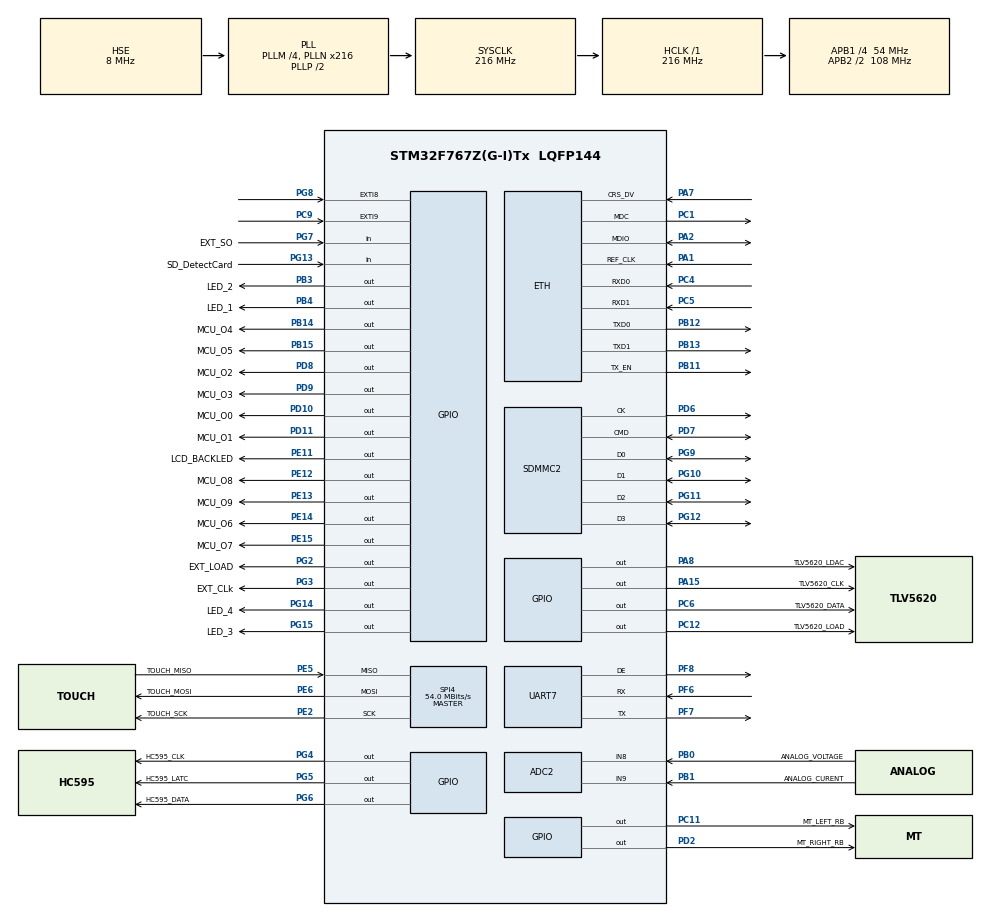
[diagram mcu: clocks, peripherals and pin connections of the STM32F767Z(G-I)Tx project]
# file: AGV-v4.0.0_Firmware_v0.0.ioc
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ADC1.Channel-0\#ChannelRegularConversion=ADC_CHANNEL_VREFINT
ADC1.NbrOfConversionFlag=1
ADC1.Rank-0\#ChannelRegularConversion=1
ADC1.SamplingTime-0\#ChannelRegularConversion=ADC_SAMPLETIME_3CYCLES
ADC1.master=1
ADC2.Channel-12\#ChannelRegularConversion=ADC_CHANNEL_8
ADC2.NbrOfConversionFlag=1
ADC2.Rank-12\#ChannelRegularConversion=1
ADC2.SamplingTime-12\#ChannelRegularConversion=ADC_SAMPLETIME_3CYCLES
CORTEX_M7.ART_ACCLERATOR_ENABLE=1
CORTEX_M7.CPU_DCache=Enabled
CORTEX_M7.CPU_ICache=Enabled
CORTEX_M7.PREFETCH_ENABLE=1
ETH.MediaInterface=ETH_MEDIA_INTERFACE_RMII
FATFS._USE_STRFUNC=1
FREERTOS.Tasks01=defaultTask,0,128,StartDefaultTask,Default,NULL,Dynamic,NULL,NULL;taskInput,0,128,StarttaskInput,Default,NULL,Dynamic,NULL,NULL;TaskSD,-3,1024,StartTaskSD,Default,NULL,Dynamic,NULL,NULL
LWIP.GATEWAY_ADDRESS=192.168.001.000
LWIP.IP_ADDRESS=192.168.001.123
LWIP.LWIP_DHCP=0
LWIP.NETMASK_ADDRESS=255.255.255.000
LWIP.Version=v2.0.0_Cube
Mcu.Family=STM32F7
Mcu.Name=STM32F767Z(G-I)Tx
Mcu.Package=LQFP144
NVIC.ETH_IRQn=true\:5\:0\:false\:false\:true\:true\:false
NVIC.EXTI9_5_IRQn=true\:5\:0\:false\:false\:true\:true\:true
NVIC.PriorityGroup=NVIC_PRIORITYGROUP_4
NVIC.SDMMC2_IRQn=true\:5\:0\:false\:false\:true\:true\:true
NVIC.SPI4_IRQn=true\:5\:0\:false\:false\:true\:true\:true
NVIC.UART7_IRQn=true\:5\:0\:false\:false\:true\:true\:true
PA1.Mode=RMII
PA1.Signal=ETH_REF_CLK
PA13.Mode=Serial_Wire
PA13.Signal=SYS_JTMS-SWDIO
PA14.Mode=Serial_Wire
PA14.Signal=SYS_JTCK-SWCLK
PA15.GPIO_Label=TLV5620_CLK
PA15.GPIO_PuPd=GPIO_PULLUP
PA15.PinState=GPIO_PIN_SET
PA15.Signal=GPIO_Output
PA2.Mode=RMII
PA2.Signal=ETH_MDIO
PA7.Mode=RMII
PA7.Signal=ETH_CRS_DV
PA8.GPIO_Label=TLV5620_LDAC
PA8.GPIO_ModeDefaultOutputPP=GPIO_MODE_OUTPUT_PP
PA8.GPIO_PuPd=GPIO_PULLUP
PA8.PinState=GPIO_PIN_SET
PA8.Signal=GPIO_Output
PB0.GPIO_Label=ANALOG_VOLTAGE
PB0.Signal=ADCx_IN8
PB1.GPIO_Label=ANALOG_CURENT
PB1.Signal=ADCx_IN9
PB11.Mode=RMII
PB11.Signal=ETH_TX_EN
PB12.Mode=RMII
PB12.Signal=ETH_TXD0
PB13.Mode=RMII
PB13.Signal=ETH_TXD1
PB14.GPIO_Label=MCU_O4
PB14.GPIO_PuPd=GPIO_PULLUP
PB14.PinState=GPIO_PIN_RESET
PB14.Signal=GPIO_Output
PB15.GPIO_Label=MCU_O5
PB15.GPIO_PuPd=GPIO_PULLUP
PB15.PinState=GPIO_PIN_RESET
PB15.Signal=GPIO_Output
PB3.GPIO_Label=LED_2
PB3.Signal=GPIO_Output
PB4.GPIO_Label=LED_1
PB4.Signal=GPIO_Output
PC1.Mode=RMII
PC1.Signal=ETH_MDC
PC11.GPIO_Label=MT_LEFT_RB
PC11.Signal=GPIO_Output
PC12.GPIO_Label=TLV5620_LOAD
PC12.GPIO_PuPd=GPIO_PULLUP
PC12.PinState=GPIO_PIN_SET
PC12.Signal=GPIO_Output
PC14/OSC32_IN.Mode=LSE-External-Oscillator
PC14/OSC32_IN.Signal=RCC_OSC32_IN
PC15/OSC32_OUT.Mode=LSE-External-Oscillator
PC15/OSC32_OUT.Signal=RCC_OSC32_OUT
PC4.Mode=RMII
PC4.Signal=ETH_RXD0
PC5.Mode=RMII
PC5.Signal=ETH_RXD1
PC6.GPIO_Label=TLV5620_DATA
PC6.GPIO_PuPd=GPIO_PULLUP
PC6.PinState=GPIO_PIN_SET
PC6.Signal=GPIO_Output
PC9.GPIO_PuPd=GPIO_PULLUP
PC9.Signal=GPXTI9
PD10.GPIO_Label=MCU_O0
PD10.GPIO_PuPd=GPIO_PULLUP
PD10.PinState=GPIO_PIN_RESET
PD10.Signal=GPIO_Output
PD11.GPIO_Label=MCU_O1
PD11.GPIO_PuPd=GPIO_PULLUP
PD11.PinState=GPIO_PIN_RESET
PD11.Signal=GPIO_Output
PD2.GPIO_Label=MT_RIGHT_RB
PD2.Signal=GPIO_Output
PD6.GPIO_PuPd=GPIO_PULLUP
PD6.Mode=SD_4_bits_Wide_bus
PD6.Signal=SDMMC2_CK
PD7.GPIO_PuPd=GPIO_PULLUP
PD7.Mode=SD_4_bits_Wide_bus
PD7.Signal=SDMMC2_CMD
PD8.GPIO_Label=MCU_O2
PD8.GPIO_PuPd=GPIO_PULLUP
PD8.PinState=GPIO_PIN_RESET
PD8.Signal=GPIO_Output
PD9.GPIO_Label=MCU_O3
PD9.GPIO_PuPd=GPIO_PULLUP
PD9.PinState=GPIO_PIN_RESET
PD9.Signal=GPIO_Output
PE11.GPIO_Label=LCD_BACKLED
PE11.Signal=GPIO_Output
PE12.GPIO_Label=MCU_O8
PE12.GPIO_PuPd=GPIO_PULLUP
PE12.PinState=GPIO_PIN_RESET
PE12.Signal=GPIO_Output
PE13.GPIO_Label=MCU_O9
PE13.GPIO_PuPd=GPIO_PULLUP
PE13.PinState=GPIO_PIN_RESET
PE13.Signal=GPIO_Output
PE14.GPIO_Label=MCU_O6
PE14.GPIO_PuPd=GPIO_PULLUP
PE14.PinState=GPIO_PIN_RESET
PE14.Signal=GPIO_Output
PE15.GPIO_Label=MCU_O7
PE15.GPIO_PuPd=GPIO_PULLUP
PE15.PinState=GPIO_PIN_RESET
PE15.Signal=GPIO_Output
PE2.GPIO_Label=TOUCH_SCK
PE2.Mode=Full_Duplex_Master
PE2.Signal=SPI4_SCK
PE5.GPIO_Label=TOUCH_MISO
PE5.Mode=Full_Duplex_Master
PE5.Signal=SPI4_MISO
PE6.GPIO_Label=TOUCH_MOSI
PE6.Mode=Full_Duplex_Master
PE6.Signal=SPI4_MOSI
PF6.Mode=Asynchronous
PF6.Signal=UART7_RX
PF7.Mode=Asynchronous
PF7.Signal=UART7_TX
PF8.Mode=Hardware Flow Control (RS485)
PF8.Signal=UART7_DE
PG10.GPIO_PuPd=GPIO_PULLUP
PG10.Mode=SD_4_bits_Wide_bus
PG10.Signal=SDMMC2_D1
PG11.GPIO_PuPd=GPIO_PULLUP
PG11.Mode=SD_4_bits_Wide_bus
PG11.Signal=SDMMC2_D2
PG12.GPIO_PuPd=GPIO_PULLUP
PG12.Mode=SD_4_bits_Wide_bus
PG12.Signal=SDMMC2_D3
PG13.GPIO_Label=SD_DetectCard
PG13.Signal=GPIO_Input
PG14.GPIO_Label=LED_4
PG14.Signal=GPIO_Output
PG15.GPIO_Label=LED_3
PG15.Signal=GPIO_Output
PG2.GPIO_Label=EXT_LOAD
PG2.GPIO_PuPd=GPIO_PULLUP
PG2.GPIO_Speed=GPIO_SPEED_FREQ_HIGH
PG2.PinState=GPIO_PIN_SET
PG2.Signal=GPIO_Output
PG3.GPIO_Label=EXT_CLk
PG3.GPIO_PuPd=GPIO_PULLUP
PG3.GPIO_Speed=GPIO_SPEED_FREQ_HIGH
PG3.PinState=GPIO_PIN_SET
PG3.Signal=GPIO_Output
PG4.GPIO_Label=HC595_CLK
PG4.GPIO_PuPd=GPIO_PULLUP
PG4.GPIO_Speed=GPIO_SPEED_FREQ_HIGH
PG4.PinState=GPIO_PIN_SET
PG4.Signal=GPIO_Output
PG5.GPIO_Label=HC595_LATC
PG5.GPIO_PuPd=GPIO_PULLUP
PG5.GPIO_Speed=GPIO_SPEED_FREQ_HIGH
PG5.PinState=GPIO_PIN_SET
PG5.Signal=GPIO_Output
PG6.GPIO_Label=HC595_DATA
PG6.GPIO_PuPd=GPIO_PULLUP
PG6.GPIO_Speed=GPIO_SPEED_FREQ_HIGH
PG6.PinState=GPIO_PIN_SET
PG6.Signal=GPIO_Output
PG7.GPIO_Label=EXT_SO
PG7.GPIO_PuPd=GPIO_PULLDOWN
PG7.Signal=GPIO_Input
PG8.GPIO_ModeDefaultEXTI=GPIO_MODE_IT_RISING
PG8.GPIO_PuPd=GPIO_PULLUP
PG8.Signal=GPXTI8
PG9.GPIO_PuPd=GPIO_PULLUP
PG9.Mode=SD_4_bits_Wide_bus
PG9.Signal=SDMMC2_D0
PH0/OSC_IN.Mode=HSE-External-Oscillator
PH0/OSC_IN.Signal=RCC_OSC_IN
PH1/OSC_OUT.Mode=HSE-External-Oscillator
PH1/OSC_OUT.Signal=RCC_OSC_OUT
ProjectManager.HeapSize=0x200
ProjectManager.StackSize=0x400
ProjectManager.TargetToolchain=MDK-ARM V5
RCC.AHBFreq_Value=216000000
RCC.APB1CLKDivider=RCC_HCLK_DIV4
RCC.APB1Freq_Value=54000000
RCC.APB1TimFreq_Value=108000000
RCC.APB2CLKDivider=RCC_HCLK_DIV2
RCC.APB2Freq_Value=108000000
RCC.APB2TimFreq_Value=216000000
RCC.CortexFreq_Value=216000000
RCC.HCLKFreq_Value=216000000
RCC.HSE_VALUE=8000000
RCC.HSI_VALUE=16000000
RCC.PLLI2SN=96
RCC.PLLM=4
RCC.PLLN=216
RCC.PLLQ=9
RCC.PLLSourceVirtual=RCC_PLLSOURCE_HSE
RCC.RTCClockSelection=RCC_RTCCLKSOURCE_LSE
RCC.SDMMC2ClockSelection=RCC_SDMMC2CLKSOURCE_CLK48
RCC.SYSCLKFreq_VALUE=216000000
RCC.SYSCLKSource=RCC_SYSCLKSOURCE_PLLCLK
RCC.UART7CLockSelection=RCC_UART7CLKSOURCE_SYSCLK
RCC.USBFreq_Value=48000000
RCC.VCOOutputFreq_Value=432000000
SDMMC2.ClockDiv=3
SH.ADCx_IN8.0=ADC2_IN8,IN8
SH.ADCx_IN9.0=ADC2_IN9,IN9
SPI4.CalculateBaudRate=54.0 MBits/s
SPI4.Direction=SPI_DIRECTION_2LINES
SPI4.Mode=SPI_MODE_MASTER
SPI4.VirtualType=VM_MASTER
UART7.AutoBaudRateEnableParam=UART_ADVFEATURE_AUTOBAUDRATE_DISABLE
UART7.Parity=PARITY_EVEN
UART7.WordLength=WORDLENGTH_8B
VP_ADC1_Vbat_Input.Mode=IN-Vbat
VP_ADC1_Vref_Input.Mode=IN-Vrefint
VP_FATFS_VS_SDIO.Mode=SDIO
VP_FREERTOS_VS_ENABLE.Mode=Enabled
VP_LWIP_VS_Enabled.Mode=Enabled
VP_RTC_VS_RTC_Activate.Mode=RTC_Enabled
VP_RTC_VS_RTC_Calendar.Mode=RTC_Calendar
board=AGV-v4.0.0_Firmware_v0.0

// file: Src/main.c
/**
  ******************************************************************************
  * File Name          : main.c
  * Description        : Main program body
  ******************************************************************************
  * This notice applies to any and all portions of this file
  * that are not between comment pairs USER CODE BEGIN and
  * USER CODE END. Other portions of this file, whether
  * inserted by the user or by software development tools
  * are owned by their respective copyright owners.
  *
  * Copyright (c) 2017 STMicroelectronics International N.V.
  * All rights reserved.
  *
  * Redistribution and use in source and binary forms, with or without
  * modification, are permitted, provided that the following conditions are met:
  *
  * 1. Redistribution of source code must retain the above copyright notice,
  *    this list of conditions and the following disclaimer.
  * 2. Redistributions in binary form must reproduce the above copyright notice,
  *    this list of conditions and the following disclaimer in the documentation
  *    and/or other materials provided with the distribution.
  * 3. Neither the name of STMicroelectronics nor the names of other
  *    contributors to this software may be used to endorse or promote products
  *    derived from this software without specific written permission.
  * 4. This software, including modifications and/or derivative works of this
  *    software, must execute solely and exclusively on microcontroller or
  *    microprocessor devices manufactured by or for STMicroelectronics.
  * 5. Redistribution and use of this software other than as permitted under
  *    this license is void and will automatically terminate your rights under
  *    this license.
  *
  * THIS SOFTWARE IS PROVIDED BY STMICROELECTRONICS AND CONTRIBUTORS "AS IS"
  * AND ANY EXPRESS, IMPLIED OR STATUTORY WARRANTIES, INCLUDING, BUT NOT
  * LIMITED TO, THE IMPLIED WARRANTIES OF MERCHANTABILITY, FITNESS FOR A
  * PARTICULAR PURPOSE AND NON-INFRINGEMENT OF THIRD PARTY INTELLECTUAL PROPERTY
  * RIGHTS ARE DISCLAIMED TO THE FULLEST EXTENT PERMITTED BY LAW. IN NO EVENT
  * SHALL STMICROELECTRONICS OR CONTRIBUTORS BE LIABLE FOR ANY DIRECT, INDIRECT,
  * INCIDENTAL, SPECIAL, EXEMPLARY, OR CONSEQUENTIAL DAMAGES (INCLUDING, BUT NOT
  * LIMITED TO, PROCUREMENT OF SUBSTITUTE GOODS OR SERVICES; LOSS OF USE, DATA,
  * OR PROFITS; OR BUSINESS INTERRUPTION) HOWEVER CAUSED AND ON ANY THEORY OF
  * LIABILITY, WHETHER IN CONTRACT, STRICT LIABILITY, OR TORT (INCLUDING
  * NEGLIGENCE OR OTHERWISE) ARISING IN ANY WAY OUT OF THE USE OF THIS SOFTWARE,
  * EVEN IF ADVISED OF THE POSSIBILITY OF SUCH DAMAGE.
  *
  ******************************************************************************
  */
#include "main.h"
#include "stm32f7xx_hal.h"
#include "cmsis_os.h"
#include "adc.h"
#include "fatfs.h"
#include "lwip.h"
#include "rtc.h"
#include "sdmmc.h"
#include "spi.h"
#include "usart.h"
#include "gpio.h"

/* USER CODE BEGIN Includes */
#include "AGVConfig.h"
#include "IO.h"
/* USER CODE END Includes */

/* USER CODE BEGIN PV */
extern UART_HandleTypeDef huart7;
extern uint8_t flag;
/* Private variables ---------------------------------------------------------*/
extern uint8_t _isSDCard;
extern uint8_t retSD;    /* Return value for SD */
extern char SDPath[4];   /* SD logical drive path */
extern FATFS SDFatFS;    /* File system object for SD logical drive */
extern FIL SDFile;       /* File object for SD */
extern FRESULT fres;
/* USER CODE END PV */

void SystemClock_Config(void);
void MX_FREERTOS_Init(void);

/* USER CODE BEGIN PFP */
/* Private function prototypes -----------------------------------------------*/

/* USER CODE END PFP */

int main(void)
{

  /* Enable I-Cache-------------------------------------------------------------*/
  SCB_EnableICache();

  /* Enable D-Cache-------------------------------------------------------------*/
  SCB_EnableDCache();

  /* MCU Configuration----------------------------------------------------------*/

  /* Reset of all peripherals, Initializes the Flash interface and the Systick. */
  HAL_Init();

  /* Configure the system clock */
  SystemClock_Config();

  /* Initialize all configured peripherals */
  MX_GPIO_Init();
  MX_ADC1_Init();
  MX_ADC2_Init();
  MX_RTC_Init();
  MX_SPI4_Init();
  MX_UART7_Init();
  MX_SDMMC2_SD_Init();

  /* USER CODE BEGIN 2 */
	AGV_Configdefault();
//	if(BSP_SD_Init() == MSD_OK)
//		{
//
//			fres = f_mount(&SDFatFS,"",1);
////			fres = f_open(&myfile,"test.txt",FA_CREATE_ALWAYS|FA_WRITE);
////			f_printf(&myfile,"Bui Manh Can /r/nAGV v4.0.0");
////
////			f_close(&myfile);
//			HAL_Delay(1);
//			}
	//Init_SSD1289();
  /* USER CODE END 2 */

  /* Call init function for freertos objects (in freertos.c) */
  MX_FREERTOS_Init();

  /* Start scheduler */
  osKernelStart();

  /* We should never get here as control is now taken by the scheduler */

  /* Infinite loop */
  while (1)
  {

  }

}

/** System Clock Configuration
*/
void SystemClock_Config(void)
{

  RCC_OscInitTypeDef RCC_OscInitStruct;
  RCC_ClkInitTypeDef RCC_ClkInitStruct;
  RCC_PeriphCLKInitTypeDef PeriphClkInitStruct;

    /**Configure LSE Drive Capability
    */
  __HAL_RCC_LSEDRIVE_CONFIG(RCC_LSEDRIVE_LOW);

    /**Configure the main internal regulator output voltage
    */
  __HAL_RCC_PWR_CLK_ENABLE();

  __HAL_PWR_VOLTAGESCALING_CONFIG(PWR_REGULATOR_VOLTAGE_SCALE1);

    /**Initializes the CPU, AHB and APB busses clocks
    */
  RCC_OscInitStruct.OscillatorType = RCC_OSCILLATORTYPE_HSE|RCC_OSCILLATORTYPE_LSE;
  RCC_OscInitStruct.HSEState = RCC_HSE_ON;
  RCC_OscInitStruct.LSEState = RCC_LSE_ON;
  RCC_OscInitStruct.PLL.PLLState = RCC_PLL_ON;
  RCC_OscInitStruct.PLL.PLLSource = RCC_PLLSOURCE_HSE;
  RCC_OscInitStruct.PLL.PLLM = 4;
  RCC_OscInitStruct.PLL.PLLN = 216;
  RCC_OscInitStruct.PLL.PLLP = RCC_PLLP_DIV2;
  RCC_OscInitStruct.PLL.PLLQ = 9;
  if (HAL_RCC_OscConfig(&RCC_OscInitStruct) != HAL_OK)
  {
    _Error_Handler(__FILE__, __LINE__);
  }

    /**Activate the Over-Drive mode
    */
  if (HAL_PWREx_EnableOverDrive() != HAL_OK)
  {
    _Error_Handler(__FILE__, __LINE__);
  }

    /**Initializes the CPU, AHB and APB busses clocks
    */
  RCC_ClkInitStruct.ClockType = RCC_CLOCKTYPE_HCLK|RCC_CLOCKTYPE_SYSCLK
                              |RCC_CLOCKTYPE_PCLK1|RCC_CLOCKTYPE_PCLK2;
  RCC_ClkInitStruct.SYSCLKSource = RCC_SYSCLKSOURCE_PLLCLK;
  RCC_ClkInitStruct.AHBCLKDivider = RCC_SYSCLK_DIV1;
  RCC_ClkInitStruct.APB1CLKDivider = RCC_HCLK_DIV4;
  RCC_ClkInitStruct.APB2CLKDivider = RCC_HCLK_DIV2;

  if (HAL_RCC_ClockConfig(&RCC_ClkInitStruct, FLASH_LATENCY_7) != HAL_OK)
  {
    _Error_Handler(__FILE__, __LINE__);
  }

  PeriphClkInitStruct.PeriphClockSelection = RCC_PERIPHCLK_RTC|RCC_PERIPHCLK_UART7
                              |RCC_PERIPHCLK_SDMMC2|RCC_PERIPHCLK_CLK48;
  PeriphClkInitStruct.RTCClockSelection = RCC_RTCCLKSOURCE_LSE;
  PeriphClkInitStruct.Uart7ClockSelection = RCC_UART7CLKSOURCE_SYSCLK;
  PeriphClkInitStruct.Clk48ClockSelection = RCC_CLK48SOURCE_PLL;
  PeriphClkInitStruct.Sdmmc2ClockSelection = RCC_SDMMC2CLKSOURCE_CLK48;
  if (HAL_RCCEx_PeriphCLKConfig(&PeriphClkInitStruct) != HAL_OK)
  {
    _Error_Handler(__FILE__, __LINE__);
  }

    /**Configure the Systick interrupt time
    */
  HAL_SYSTICK_Config(HAL_RCC_GetHCLKFreq()/1000);

    /**Configure the Systick
    */
  HAL_SYSTICK_CLKSourceConfig(SYSTICK_CLKSOURCE_HCLK);

  /* SysTick_IRQn interrupt configuration */
  HAL_NVIC_SetPriority(SysTick_IRQn, 15, 0);
}

/* USER CODE BEGIN 4 */
void HAL_UART_RxCpltCallback(UART_HandleTypeDef *huart)
{
	if(huart->Instance == UART7) flag = 1;
}
/* USER CODE END 4 */

void _Error_Handler(char * file, int line)
{
  while(1)
  {
  }
}

/************************ (C) COPYRIGHT STMicroelectronics *****END OF FILE****/

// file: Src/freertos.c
/**
  ******************************************************************************
  * File Name          : freertos.c
  * Description        : Code for freertos applications
  ******************************************************************************
  * This notice applies to any and all portions of this file
  * that are not between comment pairs USER CODE BEGIN and
  * USER CODE END. Other portions of this file, whether
  * inserted by the user or by software development tools
  * are owned by their respective copyright owners.
  *
  * Copyright (c) 2017 STMicroelectronics International N.V.
  * All rights reserved.
  *
  * Redistribution and use in source and binary forms, with or without
  * modification, are permitted, provided that the following conditions are met:
  *
  * 1. Redistribution of source code must retain the above copyright notice,
  *    this list of conditions and the following disclaimer.
  * 2. Redistributions in binary form must reproduce the above copyright notice,
  *    this list of conditions and the following disclaimer in the documentation
  *    and/or other materials provided with the distribution.
  * 3. Neither the name of STMicroelectronics nor the names of other
  *    contributors to this software may be used to endorse or promote products
  *    derived from this software without specific written permission.
  * 4. This software, including modifications and/or derivative works of this
  *    software, must execute solely and exclusively on microcontroller or
  *    microprocessor devices manufactured by or for STMicroelectronics.
  * 5. Redistribution and use of this software other than as permitted under
  *    this license is void and will automatically terminate your rights under
  *    this license.
  *
  * THIS SOFTWARE IS PROVIDED BY STMICROELECTRONICS AND CONTRIBUTORS "AS IS"
  * AND ANY EXPRESS, IMPLIED OR STATUTORY WARRANTIES, INCLUDING, BUT NOT
  * LIMITED TO, THE IMPLIED WARRANTIES OF MERCHANTABILITY, FITNESS FOR A
  * PARTICULAR PURPOSE AND NON-INFRINGEMENT OF THIRD PARTY INTELLECTUAL PROPERTY
  * RIGHTS ARE DISCLAIMED TO THE FULLEST EXTENT PERMITTED BY LAW. IN NO EVENT
  * SHALL STMICROELECTRONICS OR CONTRIBUTORS BE LIABLE FOR ANY DIRECT, INDIRECT,
  * INCIDENTAL, SPECIAL, EXEMPLARY, OR CONSEQUENTIAL DAMAGES (INCLUDING, BUT NOT
  * LIMITED TO, PROCUREMENT OF SUBSTITUTE GOODS OR SERVICES; LOSS OF USE, DATA,
  * OR PROFITS; OR BUSINESS INTERRUPTION) HOWEVER CAUSED AND ON ANY THEORY OF
  * LIABILITY, WHETHER IN CONTRACT, STRICT LIABILITY, OR TORT (INCLUDING
  * NEGLIGENCE OR OTHERWISE) ARISING IN ANY WAY OUT OF THE USE OF THIS SOFTWARE,
  * EVEN IF ADVISED OF THE POSSIBILITY OF SUCH DAMAGE.
  *
  ******************************************************************************
  */

#include "FreeRTOS.h"
#include "task.h"
#include "cmsis_os.h"

/* USER CODE BEGIN Includes */
#include "gpio.h"
#include "sdmmc.h"
#include "fatfs.h"
#include "rtc.h"

#include "AGV_Followline.h"
#include "IO.h"
#include "AGVConfig.h"
/* USER CODE END Includes */

osThreadId defaultTaskHandle;
osThreadId taskInputHandle;
osThreadId TaskSDHandle;

/* USER CODE BEGIN Variables */
	RTC_TimeTypeDef sTime;
	RTC_DateTypeDef DateToUpdate;
	uint8_t Second;
	uint8_t Minute;
	uint8_t Hour;
	uint8_t Date;
	uint8_t Day;
	uint8_t Month;
	uint8_t Year;

	uint8_t RS485_data[200];
	uint8_t RS485_datasize = 5;
	uint16_t RS485_timeout = 1000;

extern IO_output OUTPUT;
extern AGVValue AGV;
extern IO_input  INPUT;

uint8_t flag;

extern uint8_t _isSDCard;
extern uint8_t retSD;    /* Return value for SD */
extern char SDPath[4];   /* SD logical drive path */
extern FATFS SDFatFS;    /* File system object for SD logical drive */
extern FIL SDFile;       /* File object for SD */
extern FRESULT fress;

		FATFS fatfs;
		FIL myfile;
		FRESULT fres;

extern UART_HandleTypeDef huart7;

/* USER CODE END Variables */

void StartDefaultTask(void const * argument);
void StarttaskInput(void const * argument);
void StartTaskSD(void const * argument);

extern void MX_FATFS_Init(void);
extern void MX_LWIP_Init(void);
void MX_FREERTOS_Init(void); /* (MISRA C 2004 rule 8.1) */

/* USER CODE BEGIN FunctionPrototypes */
void StarttaskSDCard(void const * argument);
void StarttaskRS485(void const * argument);
void StarttaskFollowline(void const * argument);
/* USER CODE END FunctionPrototypes */

/* Hook prototypes */

/* Init FreeRTOS */

void MX_FREERTOS_Init(void) {

  /* Create the thread(s) */
  /* definition and creation of defaultTask */
  osThreadDef(defaultTask, StartDefaultTask, osPriorityNormal, 0, 128);
  defaultTaskHandle = osThreadCreate(osThread(defaultTask), NULL);

  /* definition and creation of taskInput */
  osThreadDef(taskInput, StarttaskInput, osPriorityNormal, 0, 128);
  taskInputHandle = osThreadCreate(osThread(taskInput), NULL);

  /* definition and creation of TaskSD */
  osThreadDef(TaskSD, StartTaskSD, osPriorityNormal, 0, 1024);
  TaskSDHandle = osThreadCreate(osThread(TaskSD), NULL);

  /* USER CODE BEGIN RTOS_THREADS */
  /* add threads, ... */
	osThreadDef(TaskFL, StarttaskFollowline, osPriorityNormal, 0, 128);
  TaskSDHandle = osThreadCreate(osThread(TaskFL), NULL);
  /* USER CODE END RTOS_THREADS */

}

/* StartDefaultTask function */
void StartDefaultTask(void const * argument)
{
  /* init code for FATFS */
  MX_FATFS_Init();

  /* init code for LWIP */
  MX_LWIP_Init();

  /* USER CODE BEGIN StartDefaultTask */

  /* Infinite loop */
  for(;;)
  {

//		HAL_RTC_GetTime(&hrtc,&sTime,RTC_FORMAT_BIN);
//		HAL_RTC_GetDate(&hrtc,&DateToUpdate,RTC_FORMAT_BIN);
//		Second=sTime.Seconds;
//		Minute=sTime.Minutes;
//		Hour=sTime.Hours;
//		Day=DateToUpdate.Date;
//		Date=DateToUpdate.WeekDay;
//		Month=DateToUpdate.Month;
//		Year=DateToUpdate.Year;

		//HAL_GPIO_TogglePin(LED_1_GPIO_Port, LED_1_Pin);
    osDelay(1);
  }
  /* USER CODE END StartDefaultTask */
}

/* StarttaskInput function */
void StarttaskInput(void const * argument)
{
  /* USER CODE BEGIN StarttaskInput */
  /* Infinite loop */
	uint8_t i;
  for(;;)
  {
		IO_Inputupdate();
		IO_outputupdate();
  }
  /* USER CODE END StarttaskInput */
}

/* StartTaskSD function */
void StartTaskSD(void const * argument)
{
  /* USER CODE BEGIN StartTaskSD */
  /* Infinite loop */

  for(;;)
  {
		osDelay(10000);
    if(BSP_SD_Init() == MSD_OK)
		{

			fres = f_mount(&fatfs,"",1);
			fres = f_open(&myfile,"Config.agv",FA_CREATE_ALWAYS|FA_WRITE);
			f_printf(&myfile,"Bui Manh Can /r/nAGV v4.0.0");

			fres = f_close(&myfile);
			osDelay(1000);
		}

//			}
    osDelay(1);
  }
  /* USER CODE END StartTaskSD */
}

/* USER CODE BEGIN Application */
void StarttaskSDCard(void const * argument)
{
  for(;;)
  {
		if(!HAL_GPIO_ReadPin(SD_DetectCard_GPIO_Port, SD_DetectCard_Pin))
		{
			if(!_isSDCard)
			{
				if(BSP_SD_Init() == MSD_OK)
				{
					taskENTER_CRITICAL();
					fres = f_mount(&SDFatFS, (TCHAR const*)SDPath, 1);
//					fres = f_mkfs((TCHAR const*)SDPath, 0, 0);
					fres = f_open(&SDFile,"config.agv",FA_CREATE_ALWAYS|FA_WRITE);
					taskEXIT_CRITICAL();
					f_printf(&SDFile,"Configuration File - AGV v4.0.0\r\n");
					f_close(&SDFile);
					HAL_GPIO_WritePin(LED_3_GPIO_Port,LED_3_Pin,1);
					_isSDCard = TRUE;
				}
				else
				{
					HAL_GPIO_WritePin(LED_3_GPIO_Port,LED_3_Pin,0);
					_isSDCard = FALSE;
					osDelay(2000);
				}
			}
		}
		else
		{
			HAL_GPIO_WritePin(LED_3_GPIO_Port,LED_3_Pin,0);
			_isSDCard = FALSE;
		}
		osDelay(1);
  }
}

void StarttaskRS485(void const * argument)
{
  for(;;)
  {
//			if(HAL_UART_Receive_IT(&huart7, RS485_data, RS485_datasize) == HAL_OK)
//			{
//				if(HAL_UART_Transmit_IT(&huart7, &RS485_data[0], RS485_datasize) == HAL_OK)
//				{
//					HAL_GPIO_TogglePin(LED_2_GPIO_Port,LED_2_Pin);
//				}
//			}

  }
}

void StarttaskFollowline(void const * argument)
{
  for(;;)
  {
		FollowLine_Control();
  }
}
/* USER CODE END Application */

/************************ (C) COPYRIGHT STMicroelectronics *****END OF FILE****/
